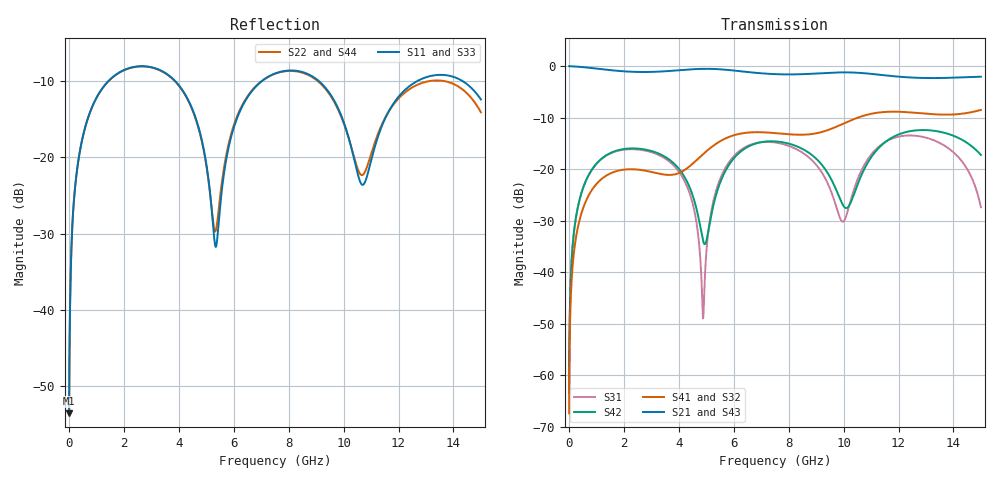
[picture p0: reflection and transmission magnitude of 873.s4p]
! Created with skrf 1.8.0 (http://scikit-rf.org).
# GHz S RI R 50.0
!freq ReS11 ImS11 ReS12 ImS12 ReS13 ImS13
! ReS14 ImS14
! ReS21 ImS21 ReS22 ImS22 ReS23 ImS23
! ReS24 ImS24
! ReS31 ImS31 ReS32 ImS32 ReS33 ImS33
! ReS34 ImS34
! ReS41 ImS41 ReS42 ImS42 ReS43 ImS43
! ReS44 ImS44
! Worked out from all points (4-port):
!   2499 points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, 5 MHz to 15 GHz, reference 50 ohm
!   strongest paths, dB at 5 MHz, 3.476 GHz, 7.19 GHz, 11.1 GHz, 15 GHz:
!     S21: 0.0, -1.0, -1.5, -1.6, -2.1
!     S43: 0.0, -1.0, -1.5, -1.6, -2.1
!     S41: -67.3, -21.0, -12.9, -9.2, -8.5
!     S32: -67.3, -21.2, -13.0, -9.2, -8.5
!     S42: -63.4, -17.5, -14.6, -17.0, -17.2
!     S31: -63.4, -17.8, -14.7, -16.6, -27.4
!   lowest |S11| = -53.5 dB at 5 MHz (marker M1), VSWR 1.00, Z = 50.2 + j0.128 ohm
!   |S11| at or under -10 dB: start of sweep to 1.452 GHz; 3.853 GHz to 7.047 GHz (3.194 GHz wide, 58.6 % of centre); 9.081 GHz to 12.71 GHz (3.632 GHz wide, 33.3 % of centre) (the widest 3 of 4)
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0.005  0.00168 0.00128  0.9983 -0.00327  8.48e-05 0.000674  -8.23e-05 -0.000421
       0.9983 -0.00327  0.00168 0.00128  -8.23e-05 -0.000421  8.49e-05 0.000674
       8.48e-05 0.000674  -8.23e-05 -0.000421  0.00168 0.00128  0.9983 -0.00327
       -8.23e-05 -0.000421  8.49e-05 0.000674  0.9983 -0.00327  0.00168 0.00128
0.3626511  0.0315 0.0954  0.9565 -0.2338  0.0149 0.0454  -0.0126 -0.0277
           0.9565 -0.2338  0.0315 0.0954  -0.0125 -0.0277  0.0154 0.0453
           0.0149 0.0454  -0.0125 -0.0277  0.0316 0.0954  0.9565 -0.2339
           -0.0126 -0.0277  0.0154 0.0453  0.9565 -0.2339  0.0315 0.0954
1.619545  0.2914 0.1683  0.5025 -0.7553  0.1339 0.0588  -0.0937 0.00184
          0.5025 -0.7553  0.2899 0.1694  -0.0935 0.00153  0.1384 0.0519
          0.1339 0.0588  -0.0935 0.00153  0.2916 0.1682  0.5025 -0.7553
          -0.0937 0.00184  0.1384 0.0519  0.5025 -0.7553  0.2898 0.1696
4.889537  0.0523 -0.1046  -0.8837 -0.3212  0.00343 0.00112  -0.0418 0.1341
          -0.8837 -0.3212  0.0579 -0.0987  -0.0455 0.1328  -0.018 -0.00868
          0.00343 0.00112  -0.0455 0.1328  0.0515 -0.1052  -0.8836 -0.3211
          -0.0418 0.1341  -0.018 -0.00868  -0.8836 -0.3211  0.059 -0.0986
8.272197  0.3652 -0.0361  -0.000558 0.8318  0.1378 -0.075  0.2054 -0.0678
          -0.000558 0.8318  0.3623 -0.0337  0.2054 -0.0581  0.1379 -0.0955
          0.1378 -0.075  0.2054 -0.0581  0.367 -0.0387  -0.000148 0.8317
          0.2054 -0.0678  0.1379 -0.0955  -0.000148 0.8317  0.3612 -0.0313
11.01084  0.0818 0.0503  0.8398 -0.0313  0.0391 0.1335  -0.0415 -0.3424
          0.8398 -0.0313  0.0933 0.0498  -0.0237 -0.344  0.0458 0.1231
          0.0391 0.1335  -0.0237 -0.344  0.0792 0.053  0.8397 -0.0321
          -0.0415 -0.3424  0.0458 0.1231  0.8397 -0.0321  0.096 0.0469
15  0.1872 -0.1476  -0.4887 -0.6191  0.00781 -0.042  -0.2708 0.2604
    -0.4887 -0.6191  0.1682 -0.1018  -0.2912 0.2351  -0.0418 -0.1311
    0.00781 -0.042  -0.2912 0.2351  0.1854 -0.1572  -0.4888 -0.6176
    -0.2708 0.2604  -0.0418 -0.1311  -0.4888 -0.6176  0.1777 -0.094
